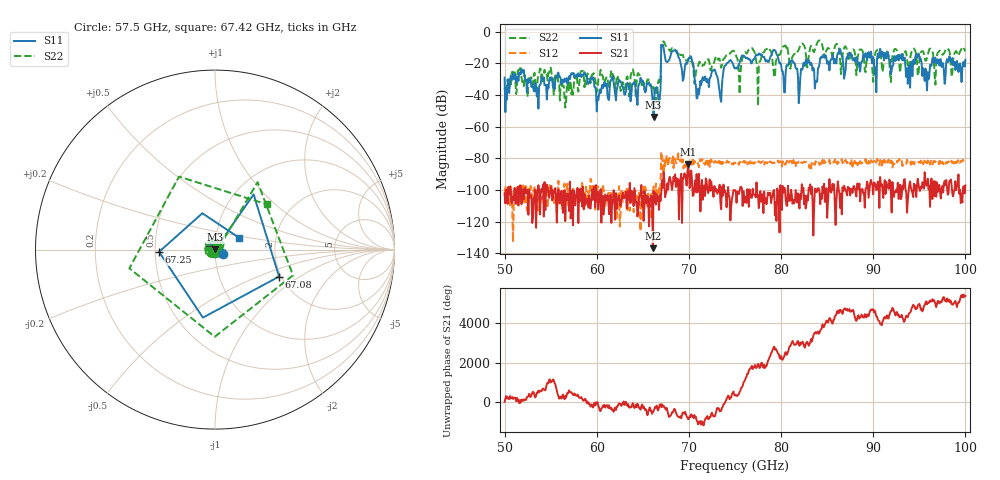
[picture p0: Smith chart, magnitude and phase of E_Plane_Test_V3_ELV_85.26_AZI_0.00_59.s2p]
! 11/26/2026 4:39:17 PM
! C:\ANRITSUVNA\TEMP\TEMP.S2P
! CHANNEL.1
! TR.MEASUREMENT
! RAW.DATA
# HZ S RI R 50.0
! FREQ.HZ  S11RE  S11IM  S21RE  S21IM  S12RE  S12IM  S22RE  S22IM
!; PortSelection: Port_12
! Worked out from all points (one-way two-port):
!   601 points, 50 GHz to 100 GHz, reference 50 ohm
!   highest |S21| = -83.84 dB at 69.92 GHz (marker M1); lowest = -137.0 dB at 66.08 GHz (marker M2)
!   lowest |S11| = -54.0 dB at 66.17 GHz (marker M3), VSWR 1.00, Z = 50.1 + j0.145 ohm
!   |S11| at or under -10 dB: start of sweep to 67 GHz; 67.24 GHz to end of sweep
!   |S22| runs from -48.0 to -5.6 dB; largest |S21 - S12| = 0.00016
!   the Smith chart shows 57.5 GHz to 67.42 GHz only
!   S11 on the Smith chart (normalised r, x): 57.5 GHz: 1.09, -0.05; 67.08 GHz: 1.95, -0.69; 67.25 GHz: 0.52, -0.01; 67.42 GHz: 1.29, +0.18
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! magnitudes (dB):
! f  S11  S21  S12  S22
! 50 GHz  -29.0  -102.3  -103.8  -35.4
! 57.5 GHz  -26.2  -100.6  -99.9  -34.6
! 58.42 GHz  -27.1  -110.4  -94.6  -24.8
! 60.17 GHz  -43.2  -112.5  -98.4  -30.3
! 66.08 GHz  -45.5  -137.0  -101.9  -33.8
! 66.17 GHz  -54.0  -100.7  -97.9  -34.0
! 66.67 GHz  -41.4  -104.3  -102.1  -31.6
! 67.08 GHz  -8.2  -94.0  -78.6  -6.8
! 67.25 GHz  -10.1  -88.9  -89.5  -6.2
! 67.42 GHz  -16.6  -104.6  -85.0  -8.3
! 69.92 GHz  -17.9  -83.8  -82.3  -17.3
! 70.92 GHz  -42.2  -101.6  -82.8  -23.2
! 75 GHz  -23.3  -100.1  -82.7  -12.9
! 77.58 GHz  -13.8  -111.5  -82.0  -21.7
! 78.5 GHz  -18.2  -105.5  -83.2  -10.8
! 79.33 GHz  -11.8  -116.1  -83.0  -28.8
! 80.25 GHz  -28.0  -101.8  -82.8  -9.4
! 83.42 GHz  -24.6  -107.4  -82.8  -10.8
! 91.67 GHz  -16.8  -99.3  -80.9  -15.2
! 94.83 GHz  -15.0  -93.0  -82.9  -27.8
! 95.83 GHz  -37.2  -97.1  -83.1  -16.5
! 100 GHz  -17.8  -97.2  -83.1  -12.5
